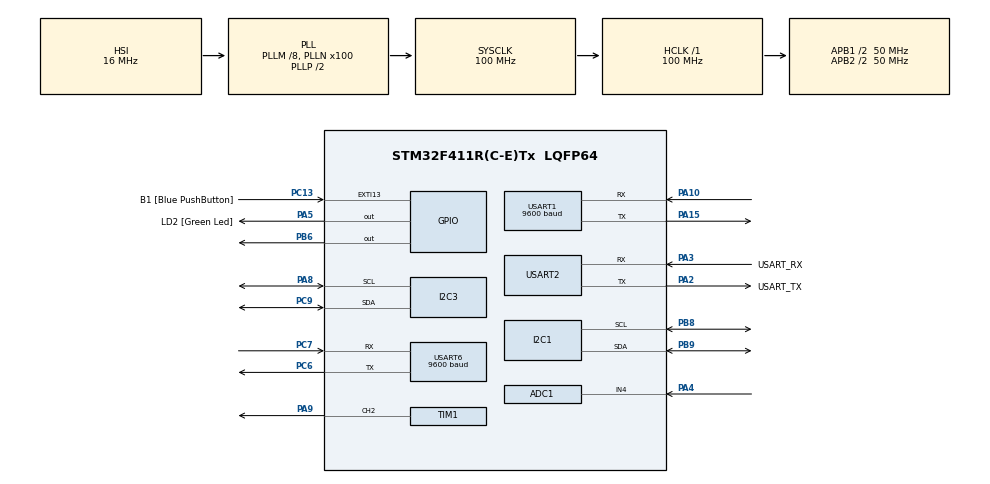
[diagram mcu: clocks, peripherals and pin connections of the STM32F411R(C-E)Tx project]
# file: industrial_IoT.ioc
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ADC1.Channel-1\#ChannelRegularConversion=ADC_CHANNEL_4
ADC1.NbrOfConversionFlag=1
ADC1.Rank-1\#ChannelRegularConversion=1
ADC1.SamplingTime-1\#ChannelRegularConversion=ADC_SAMPLETIME_3CYCLES
ADC1.master=1
FREERTOS.Mutexes01=CCSMutex01,Dynamic,NULL,Available;SHTMutex02,Dynamic,NULL,Available
FREERTOS.Queues01=uartQueue01,16,uint16_t,0,Dynamic,NULL,NULL
FREERTOS.Tasks01=I2CTask,24,128,i2cTask,Default,NULL,Dynamic,NULL,NULL;ADCTask,24,128,adcTask,Default,NULL,Dynamic,NULL,NULL;printTask,24,128,UsartTask,Default,NULL,Dynamic,NULL,NULL;BluetoothTask,40,128,BTTask,Default,NULL,Dynamic,NULL,NULL
Mcu.Family=STM32F4
Mcu.Name=STM32F411R(C-E)Tx
Mcu.Package=LQFP64
NVIC.ADC_IRQn=true\:5\:0\:false\:false\:true\:true\:true\:true\:true
NVIC.PriorityGroup=NVIC_PRIORITYGROUP_4
PA10.Mode=Asynchronous
PA10.Signal=USART1_RX
PA13.GPIO_Label=TMS
PA13.Mode=Serial_Wire
PA13.Signal=SYS_JTMS-SWDIO
PA14.GPIO_Label=TCK
PA14.Mode=Serial_Wire
PA14.Signal=SYS_JTCK-SWCLK
PA15.Mode=Asynchronous
PA15.Signal=USART1_TX
PA2.GPIO_Label=USART_TX
PA2.Mode=Asynchronous
PA2.Signal=USART2_TX
PA3.GPIO_Label=USART_RX
PA3.Mode=Asynchronous
PA3.Signal=USART2_RX
PA4.Signal=ADCx_IN4
PA5.GPIO_Label=LD2 [Green Led]
PA5.Signal=GPIO_Output
PA8.Mode=I2C
PA8.Signal=I2C3_SCL
PA9.Signal=S_TIM1_CH2
PB3.GPIO_Label=SWO
PB3.Signal=SYS_JTDO-SWO
PB6.Signal=GPIO_Output
PB8.Mode=I2C
PB8.Signal=I2C1_SCL
PB9.Mode=I2C
PB9.Signal=I2C1_SDA
PC13-ANTI_TAMP.GPIO_Label=B1 [Blue PushButton]
PC13-ANTI_TAMP.GPIO_ModeDefaultEXTI=GPIO_MODE_IT_FALLING
PC13-ANTI_TAMP.Signal=GPXTI13
PC14-OSC32_IN.Mode=LSE-External-Oscillator
PC14-OSC32_IN.Signal=RCC_OSC32_IN
PC15-OSC32_OUT.Mode=LSE-External-Oscillator
PC15-OSC32_OUT.Signal=RCC_OSC32_OUT
PC6.Mode=Asynchronous
PC6.Signal=USART6_TX
PC7.Mode=Asynchronous
PC7.Signal=USART6_RX
PC9.Mode=I2C
PC9.Signal=I2C3_SDA
PH0\ -\ OSC_IN.Mode=HSE-External-Clock-Source
PH0\ -\ OSC_IN.Signal=RCC_OSC_IN
PH1\ -\ OSC_OUT.Mode=HSE-External-Clock-Source
PH1\ -\ OSC_OUT.Signal=RCC_OSC_OUT
ProjectManager.HeapSize=0x200
ProjectManager.StackSize=0x400
ProjectManager.TargetToolchain=STM32CubeIDE
RCC.48MHZClocksFreq_Value=50000000
RCC.AHBFreq_Value=100000000
RCC.APB1CLKDivider=RCC_HCLK_DIV2
RCC.APB1Freq_Value=50000000
RCC.APB1TimFreq_Value=100000000
RCC.APB2CLKDivider=RCC_HCLK_DIV2
RCC.APB2Freq_Value=50000000
RCC.APB2TimFreq_Value=100000000
RCC.CortexFreq_Value=100000000
RCC.FLatency-AdvancedSettings=FLASH_LATENCY_3
RCC.HCLKFreq_Value=100000000
RCC.HSE_VALUE=8000000
RCC.HSI_VALUE=16000000
RCC.PLLM=8
RCC.PLLN=100
RCC.SYSCLKFreq_VALUE=100000000
RCC.SYSCLKSource=RCC_SYSCLKSOURCE_PLLCLK
RCC.VCOOutputFreq_Value=200000000
SH.ADCx_IN4.0=ADC1_IN4,IN4
SH.S_TIM1_CH2.0=TIM1_CH2,PWM Generation2 CH2
TIM1.Channel-PWM\ Generation2\ CH2=TIM_CHANNEL_2
TIM1.Period=65535-1
TIM1.Prescaler=100-1
USART1.BaudRate=9600
USART1.VirtualMode=VM_ASYNC
USART2.VirtualMode=VM_ASYNC
USART6.BaudRate=9600
USART6.VirtualMode=VM_ASYNC
VP_FREERTOS_VS_CMSIS_V2.Mode=CMSIS_V2
VP_TIM1_VS_ClockSourceINT.Mode=Internal
board=NUCLEO-F411RE

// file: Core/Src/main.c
/* USER CODE BEGIN Header */
/**
  ******************************************************************************
  * @file           : main.c
  * @brief          : Main program body
  ******************************************************************************
  * @attention
  *
  * Copyright (c) 2025 STMicroelectronics.
  * All rights reserved.
  *
  * This software is licensed under terms that can be found in the LICENSE file
  * in the root directory of this software component.
  * If no LICENSE file comes with this software, it is provided AS-IS.
  *
  ******************************************************************************
  */
/* USER CODE END Header */
#include "main.h"
#include "cmsis_os.h"

#include "stdio.h"
#include "string.h"

/* USER CODE BEGIN PD */
#define CCS_ADDR 0x5A << 1
#define STATUS 0x00
#define READ_DATA 0x02
#define MEAS_MODE 0x01
#define APP_START 0xF4

#define SHT_ADDR 0x44 << 1
#define MSB 0x24
#define LSB 0x00
/* USER CODE END PD */

/* USER CODE BEGIN PM */
typedef struct{
	uint16_t TVOC;
	uint16_t eCO2;

	uint8_t tvoc_data[8];
}CCS_value;

typedef struct{
	uint16_t rtemp;
	uint16_t rhumi;

	float temp;
	float humi;

	uint8_t SHT_data[6];
}SHT_value;

CCS_value CCS;

SHT_value SHT;

uint16_t dust;

char buf[500];
/* USER CODE END PM */

ADC_HandleTypeDef hadc1;

I2C_HandleTypeDef hi2c1;
I2C_HandleTypeDef hi2c3;

TIM_HandleTypeDef htim1;

UART_HandleTypeDef huart1;
UART_HandleTypeDef huart2;
UART_HandleTypeDef huart6;

/* Definitions for I2CTask */
osThreadId_t I2CTaskHandle;
const osThreadAttr_t I2CTask_attributes = {
  .name = "I2CTask",
  .stack_size = 128 * 4,
  .priority = (osPriority_t) osPriorityNormal,
};
/* Definitions for ADCTask */
osThreadId_t ADCTaskHandle;
const osThreadAttr_t ADCTask_attributes = {
  .name = "ADCTask",
  .stack_size = 128 * 4,
  .priority = (osPriority_t) osPriorityNormal,
};
/* Definitions for printTask */
osThreadId_t printTaskHandle;
const osThreadAttr_t printTask_attributes = {
  .name = "printTask",
  .stack_size = 128 * 4,
  .priority = (osPriority_t) osPriorityNormal,
};
/* Definitions for BluetoothTask */
osThreadId_t BluetoothTaskHandle;
const osThreadAttr_t BluetoothTask_attributes = {
  .name = "BluetoothTask",
  .stack_size = 128 * 4,
  .priority = (osPriority_t) osPriorityHigh,
};
/* Definitions for uartQueue01 */
osMessageQueueId_t uartQueue01Handle;
const osMessageQueueAttr_t uartQueue01_attributes = {
  .name = "uartQueue01"
};
/* Definitions for CCSMutex01 */
osMutexId_t CCSMutex01Handle;
const osMutexAttr_t CCSMutex01_attributes = {
  .name = "CCSMutex01"
};
/* Definitions for SHTMutex02 */
osMutexId_t SHTMutex02Handle;
const osMutexAttr_t SHTMutex02_attributes = {
  .name = "SHTMutex02"
};

void SystemClock_Config(void);
static void MX_GPIO_Init(void);
static void MX_USART2_UART_Init(void);
static void MX_ADC1_Init(void);
static void MX_I2C1_Init(void);
static void MX_I2C3_Init(void);
static void MX_TIM1_Init(void);
static void MX_USART6_UART_Init(void);
static void MX_USART1_UART_Init(void);
void i2cTask(void *argument);
void adcTask(void *argument);
void UsartTask(void *argument);
void BTTask(void *argument);

/* USER CODE BEGIN 0 */
void delay_us(uint16_t us){
	htim1.Instance-> CNT = 0;
	while(htim1.Instance->CNT < us){}
}

void CCS_Init(){
	uint8_t drive = 0x10;

	HAL_I2C_Mem_Write(&hi2c1,CCS_ADDR,APP_START,1,NULL,0,100);
    osDelay(100);
	HAL_I2C_Mem_Write(&hi2c1,CCS_ADDR,MEAS_MODE,1,&drive,1,100);

}

void CCS_Read(CCS_value *C){
	  if (osMutexAcquire(CCSMutex01Handle, osWaitForever) == osOK) {
	uint8_t status;

	HAL_I2C_Mem_Read(&hi2c1,CCS_ADDR,STATUS,1,&status,1,100);
    if((HAL_I2C_Mem_Read(&hi2c1,CCS_ADDR,STATUS,1,&status,1,100)) != HAL_OK){
    	Error_Handler();
    }
	if(status & 0x08){
		HAL_I2C_Mem_Read(&hi2c1,CCS_ADDR,READ_DATA,1,C->tvoc_data,8,100);
		  C->eCO2 = ((uint16_t)C->tvoc_data[0] << 8) | C->tvoc_data[1];
	      C->TVOC = ((uint16_t)C->tvoc_data[2] << 8) | C->tvoc_data[3];
	      sprintf(buf, "%d ppm, %d ppb\r\n", C->eCO2, C->TVOC);
	      osMessageQueuePut(uartQueue01Handle, buf, 0, 0);
	}
	osMutexRelease(CCSMutex01Handle);
}
}

void SHT_Read(SHT_value *S){
	 if (osMutexAcquire(SHTMutex02Handle, osWaitForever) == osOK) {
	uint16_t cmd[2] = {MSB,LSB};
	HAL_I2C_Master_Transmit(&hi2c3,SHT_ADDR,cmd,2,100);
   osDelay(15);
    HAL_I2C_Master_Receive(&hi2c3,SHT_ADDR,S->SHT_data,6,100);

    if((HAL_I2C_Master_Transmit(&hi2c3,SHT_ADDR,cmd,2,100)) != HAL_OK){
    	Error_Handler();
    }

	  S->rtemp = (uint16_t)(S->SHT_data[0]<<8) | S->SHT_data[1];
	  S->rhumi = (uint16_t)(S->SHT_data[3]<<8) | S->SHT_data[4];

	  S->temp = -45 + 175 * ((float)S->rtemp / 65535.0);
	  S->humi = 100 * ((float)S->rhumi / 65535.0);
	      sprintf(buf, "%.2f C, %.2f %%\r\n", S->temp, S->humi);
	 osMessageQueuePut(uartQueue01Handle, buf, 0, 0);
    osMutexRelease(SHTMutex02Handle);
	 }
}

void DUST_Read(){
	 GPIOB->ODR &= ~(0x0040);
     delay_us(280);
     ADC1->CR1 = 0x00000020;
	 ADC1->CR2 = 0x40000001;
     delay_us(40);
	 GPIOB->ODR |= 0x0040;
	 delay_us(9680);
	 sprintf(buf,"%d\r\n",dust);
     osMessageQueuePut(uartQueue01Handle, buf, 0, 0);

}

/* USER CODE END 0 */

int main(void)
{

  /* MCU Configuration--------------------------------------------------------*/

  /* Reset of all peripherals, Initializes the Flash interface and the Systick. */
  HAL_Init();

  /* Configure the system clock */
  SystemClock_Config();

  /* Initialize all configured peripherals */
  MX_GPIO_Init();
  MX_USART2_UART_Init();
  MX_ADC1_Init();
  MX_I2C1_Init();
  MX_I2C3_Init();
  MX_TIM1_Init();
  MX_USART6_UART_Init();
  MX_USART1_UART_Init();
  /* USER CODE BEGIN 2 */
  TIM1->CR1 = 0x0001;
  /* USER CODE END 2 */

  /* Init scheduler */
  osKernelInitialize();
  /* Create the mutex(es) */
  /* creation of CCSMutex01 */
  CCSMutex01Handle = osMutexNew(&CCSMutex01_attributes);

  /* creation of SHTMutex02 */
  SHTMutex02Handle = osMutexNew(&SHTMutex02_attributes);

  /* Create the queue(s) */
  /* creation of uartQueue01 */
  uartQueue01Handle = osMessageQueueNew (16, sizeof(buf), &uartQueue01_attributes);

  /* Create the thread(s) */
  /* creation of I2CTask */
  I2CTaskHandle = osThreadNew(i2cTask, NULL, &I2CTask_attributes);

  /* creation of ADCTask */
  ADCTaskHandle = osThreadNew(adcTask, NULL, &ADCTask_attributes);

  /* creation of printTask */
  printTaskHandle = osThreadNew(UsartTask, NULL, &printTask_attributes);

  /* creation of BluetoothTask */
  BluetoothTaskHandle = osThreadNew(BTTask, NULL, &BluetoothTask_attributes);

  /* Start scheduler */
  osKernelStart();

  /* We should never get here as control is now taken by the scheduler */

  /* Infinite loop */
  while (1)
  {

  }
}

void SystemClock_Config(void)
{
  RCC_OscInitTypeDef RCC_OscInitStruct = {0};
  RCC_ClkInitTypeDef RCC_ClkInitStruct = {0};

  /** Configure the main internal regulator output voltage
  */
  __HAL_RCC_PWR_CLK_ENABLE();
  __HAL_PWR_VOLTAGESCALING_CONFIG(PWR_REGULATOR_VOLTAGE_SCALE1);

  /** Initializes the RCC Oscillators according to the specified parameters
  * in the RCC_OscInitTypeDef structure.
  */
  RCC_OscInitStruct.OscillatorType = RCC_OSCILLATORTYPE_HSI;
  RCC_OscInitStruct.HSIState = RCC_HSI_ON;
  RCC_OscInitStruct.HSICalibrationValue = RCC_HSICALIBRATION_DEFAULT;
  RCC_OscInitStruct.PLL.PLLState = RCC_PLL_ON;
  RCC_OscInitStruct.PLL.PLLSource = RCC_PLLSOURCE_HSI;
  RCC_OscInitStruct.PLL.PLLM = 8;
  RCC_OscInitStruct.PLL.PLLN = 100;
  RCC_OscInitStruct.PLL.PLLP = RCC_PLLP_DIV2;
  RCC_OscInitStruct.PLL.PLLQ = 4;
  if (HAL_RCC_OscConfig(&RCC_OscInitStruct) != HAL_OK)
  {
    Error_Handler();
  }

  /** Initializes the CPU, AHB and APB buses clocks
  */
  RCC_ClkInitStruct.ClockType = RCC_CLOCKTYPE_HCLK|RCC_CLOCKTYPE_SYSCLK
                              |RCC_CLOCKTYPE_PCLK1|RCC_CLOCKTYPE_PCLK2;
  RCC_ClkInitStruct.SYSCLKSource = RCC_SYSCLKSOURCE_PLLCLK;
  RCC_ClkInitStruct.AHBCLKDivider = RCC_SYSCLK_DIV1;
  RCC_ClkInitStruct.APB1CLKDivider = RCC_HCLK_DIV2;
  RCC_ClkInitStruct.APB2CLKDivider = RCC_HCLK_DIV2;

  if (HAL_RCC_ClockConfig(&RCC_ClkInitStruct, FLASH_LATENCY_3) != HAL_OK)
  {
    Error_Handler();
  }
}

static void MX_ADC1_Init(void)
{

  ADC_ChannelConfTypeDef sConfig = {0};

  /** Configure the global features of the ADC (Clock, Resolution, Data Alignment and number of conversion)
  */
  hadc1.Instance = ADC1;
  hadc1.Init.ClockPrescaler = ADC_CLOCK_SYNC_PCLK_DIV2;
  hadc1.Init.Resolution = ADC_RESOLUTION_12B;
  hadc1.Init.ScanConvMode = DISABLE;
  hadc1.Init.ContinuousConvMode = DISABLE;
  hadc1.Init.DiscontinuousConvMode = DISABLE;
  hadc1.Init.ExternalTrigConvEdge = ADC_EXTERNALTRIGCONVEDGE_NONE;
  hadc1.Init.ExternalTrigConv = ADC_SOFTWARE_START;
  hadc1.Init.DataAlign = ADC_DATAALIGN_RIGHT;
  hadc1.Init.NbrOfConversion = 1;
  hadc1.Init.DMAContinuousRequests = DISABLE;
  hadc1.Init.EOCSelection = ADC_EOC_SINGLE_CONV;
  if (HAL_ADC_Init(&hadc1) != HAL_OK)
  {
    Error_Handler();
  }

  /** Configure for the selected ADC regular channel its corresponding rank in the sequencer and its sample time.
  */
  sConfig.Channel = ADC_CHANNEL_4;
  sConfig.Rank = 1;
  sConfig.SamplingTime = ADC_SAMPLETIME_3CYCLES;
  if (HAL_ADC_ConfigChannel(&hadc1, &sConfig) != HAL_OK)
  {
    Error_Handler();
  }
  /* USER CODE BEGIN ADC1_Init 2 */
  HAL_NVIC_SetPriority(ADC_IRQn, 0, 0);
    HAL_NVIC_EnableIRQ(ADC_IRQn);
  /* USER CODE END ADC1_Init 2 */

}

static void MX_I2C1_Init(void)
{

  hi2c1.Instance = I2C1;
  hi2c1.Init.ClockSpeed = 100000;
  hi2c1.Init.DutyCycle = I2C_DUTYCYCLE_2;
  hi2c1.Init.OwnAddress1 = 0;
  hi2c1.Init.AddressingMode = I2C_ADDRESSINGMODE_7BIT;
  hi2c1.Init.DualAddressMode = I2C_DUALADDRESS_DISABLE;
  hi2c1.Init.OwnAddress2 = 0;
  hi2c1.Init.GeneralCallMode = I2C_GENERALCALL_DISABLE;
  hi2c1.Init.NoStretchMode = I2C_NOSTRETCH_DISABLE;
  if (HAL_I2C_Init(&hi2c1) != HAL_OK)
  {
    Error_Handler();
  }

}

static void MX_I2C3_Init(void)
{

  hi2c3.Instance = I2C3;
  hi2c3.Init.ClockSpeed = 100000;
  hi2c3.Init.DutyCycle = I2C_DUTYCYCLE_2;
  hi2c3.Init.OwnAddress1 = 0;
  hi2c3.Init.AddressingMode = I2C_ADDRESSINGMODE_7BIT;
  hi2c3.Init.DualAddressMode = I2C_DUALADDRESS_DISABLE;
  hi2c3.Init.OwnAddress2 = 0;
  hi2c3.Init.GeneralCallMode = I2C_GENERALCALL_DISABLE;
  hi2c3.Init.NoStretchMode = I2C_NOSTRETCH_DISABLE;
  if (HAL_I2C_Init(&hi2c3) != HAL_OK)
  {
    Error_Handler();
  }

}

static void MX_TIM1_Init(void)
{

  TIM_ClockConfigTypeDef sClockSourceConfig = {0};
  TIM_MasterConfigTypeDef sMasterConfig = {0};
  TIM_OC_InitTypeDef sConfigOC = {0};
  TIM_BreakDeadTimeConfigTypeDef sBreakDeadTimeConfig = {0};

  htim1.Instance = TIM1;
  htim1.Init.Prescaler = 100-1;
  htim1.Init.CounterMode = TIM_COUNTERMODE_UP;
  htim1.Init.Period = 65535-1;
  htim1.Init.ClockDivision = TIM_CLOCKDIVISION_DIV1;
  htim1.Init.RepetitionCounter = 0;
  htim1.Init.AutoReloadPreload = TIM_AUTORELOAD_PRELOAD_DISABLE;
  if (HAL_TIM_Base_Init(&htim1) != HAL_OK)
  {
    Error_Handler();
  }
  sClockSourceConfig.ClockSource = TIM_CLOCKSOURCE_INTERNAL;
  if (HAL_TIM_ConfigClockSource(&htim1, &sClockSourceConfig) != HAL_OK)
  {
    Error_Handler();
  }
  if (HAL_TIM_PWM_Init(&htim1) != HAL_OK)
  {
    Error_Handler();
  }
  sMasterConfig.MasterOutputTrigger = TIM_TRGO_RESET;
  sMasterConfig.MasterSlaveMode = TIM_MASTERSLAVEMODE_DISABLE;
  if (HAL_TIMEx_MasterConfigSynchronization(&htim1, &sMasterConfig) != HAL_OK)
  {
    Error_Handler();
  }
  sConfigOC.OCMode = TIM_OCMODE_PWM1;
  sConfigOC.Pulse = 0;
  sConfigOC.OCPolarity = TIM_OCPOLARITY_HIGH;
  sConfigOC.OCNPolarity = TIM_OCNPOLARITY_HIGH;
  sConfigOC.OCFastMode = TIM_OCFAST_DISABLE;
  sConfigOC.OCIdleState = TIM_OCIDLESTATE_RESET;
  sConfigOC.OCNIdleState = TIM_OCNIDLESTATE_RESET;
  if (HAL_TIM_PWM_ConfigChannel(&htim1, &sConfigOC, TIM_CHANNEL_2) != HAL_OK)
  {
    Error_Handler();
  }
  sBreakDeadTimeConfig.OffStateRunMode = TIM_OSSR_DISABLE;
  sBreakDeadTimeConfig.OffStateIDLEMode = TIM_OSSI_DISABLE;
  sBreakDeadTimeConfig.LockLevel = TIM_LOCKLEVEL_OFF;
  sBreakDeadTimeConfig.DeadTime = 0;
  sBreakDeadTimeConfig.BreakState = TIM_BREAK_DISABLE;
  sBreakDeadTimeConfig.BreakPolarity = TIM_BREAKPOLARITY_HIGH;
  sBreakDeadTimeConfig.AutomaticOutput = TIM_AUTOMATICOUTPUT_DISABLE;
  if (HAL_TIMEx_ConfigBreakDeadTime(&htim1, &sBreakDeadTimeConfig) != HAL_OK)
  {
    Error_Handler();
  }
  HAL_TIM_MspPostInit(&htim1);

}

static void MX_USART1_UART_Init(void)
{

  huart1.Instance = USART1;
  huart1.Init.BaudRate = 9600;
  huart1.Init.WordLength = UART_WORDLENGTH_8B;
  huart1.Init.StopBits = UART_STOPBITS_1;
  huart1.Init.Parity = UART_PARITY_NONE;
  huart1.Init.Mode = UART_MODE_TX_RX;
  huart1.Init.HwFlowCtl = UART_HWCONTROL_NONE;
  huart1.Init.OverSampling = UART_OVERSAMPLING_16;
  if (HAL_UART_Init(&huart1) != HAL_OK)
  {
    Error_Handler();
  }

}

static void MX_USART2_UART_Init(void)
{

  huart2.Instance = USART2;
  huart2.Init.BaudRate = 115200;
  huart2.Init.WordLength = UART_WORDLENGTH_8B;
  huart2.Init.StopBits = UART_STOPBITS_1;
  huart2.Init.Parity = UART_PARITY_NONE;
  huart2.Init.Mode = UART_MODE_TX_RX;
  huart2.Init.HwFlowCtl = UART_HWCONTROL_NONE;
  huart2.Init.OverSampling = UART_OVERSAMPLING_16;
  if (HAL_UART_Init(&huart2) != HAL_OK)
  {
    Error_Handler();
  }

}

static void MX_USART6_UART_Init(void)
{

  huart6.Instance = USART6;
  huart6.Init.BaudRate = 9600;
  huart6.Init.WordLength = UART_WORDLENGTH_8B;
  huart6.Init.StopBits = UART_STOPBITS_1;
  huart6.Init.Parity = UART_PARITY_NONE;
  huart6.Init.Mode = UART_MODE_TX_RX;
  huart6.Init.HwFlowCtl = UART_HWCONTROL_NONE;
  huart6.Init.OverSampling = UART_OVERSAMPLING_16;
  if (HAL_UART_Init(&huart6) != HAL_OK)
  {
    Error_Handler();
  }

}

static void MX_GPIO_Init(void)
{
  GPIO_InitTypeDef GPIO_InitStruct = {0};

  /* GPIO Ports Clock Enable */
  __HAL_RCC_GPIOC_CLK_ENABLE();
  __HAL_RCC_GPIOH_CLK_ENABLE();
  __HAL_RCC_GPIOA_CLK_ENABLE();
  __HAL_RCC_GPIOB_CLK_ENABLE();

  /*Configure GPIO pin Output Level */
  HAL_GPIO_WritePin(LD2_GPIO_Port, LD2_Pin, GPIO_PIN_RESET);

  /*Configure GPIO pin Output Level */
  HAL_GPIO_WritePin(GPIOB, GPIO_PIN_6, GPIO_PIN_RESET);

  /*Configure GPIO pin : B1_Pin */
  GPIO_InitStruct.Pin = B1_Pin;
  GPIO_InitStruct.Mode = GPIO_MODE_IT_FALLING;
  GPIO_InitStruct.Pull = GPIO_NOPULL;
  HAL_GPIO_Init(B1_GPIO_Port, &GPIO_InitStruct);

  /*Configure GPIO pin : LD2_Pin */
  GPIO_InitStruct.Pin = LD2_Pin;
  GPIO_InitStruct.Mode = GPIO_MODE_OUTPUT_PP;
  GPIO_InitStruct.Pull = GPIO_NOPULL;
  GPIO_InitStruct.Speed = GPIO_SPEED_FREQ_LOW;
  HAL_GPIO_Init(LD2_GPIO_Port, &GPIO_InitStruct);

  /*Configure GPIO pin : PB6 */
  GPIO_InitStruct.Pin = GPIO_PIN_6;
  GPIO_InitStruct.Mode = GPIO_MODE_OUTPUT_PP;
  GPIO_InitStruct.Pull = GPIO_NOPULL;
  GPIO_InitStruct.Speed = GPIO_SPEED_FREQ_LOW;
  HAL_GPIO_Init(GPIOB, &GPIO_InitStruct);

}

void i2cTask(void *argument)
{
  /* USER CODE BEGIN 5 */
	 CCS_Init();
  /* Infinite loop */
  for(;;)
  {
	  CCS_Read(&CCS);
	  SHT_Read(&SHT);
	  osDelay(1000);
  }
  /* USER CODE END 5 */
}

void adcTask(void *argument)
{
  /* USER CODE BEGIN adcTask */
  /* Infinite loop */
  for(;;)
  {
	  DUST_Read();
	  osDelay(1000);
  }
  /* USER CODE END adcTask */
}

void UsartTask(void *argument)
{
  /* USER CODE BEGIN UsartTask */
  /* Infinite loop */
  for(;;)
  {
	  if (osMessageQueueGet(uartQueue01Handle, buf, NULL, osWaitForever) == osOK) {
	  	             HAL_UART_Transmit(&huart1,(uint8_t*)buf, strlen(buf),0xFFFF);
	  	         }
  }
  /* USER CODE END UsartTask */
}

void BTTask(void *argument)
{
  /* USER CODE BEGIN BTTask */
	char BTbuf[50];
  /* Infinite loop */
  for(;;)
  {
	  if(SHT.temp > 30.0 && CCS.TVOC > 600 && dust > 2000){
			  strcpy(BTbuf,"Warning\r\n");
			  HAL_UART_Transmit(&huart6,(uint8_t*)BTbuf,strlen(BTbuf),0xFFFF);
		  }
	  else{
		  strcpy(BTbuf,"default\r\n");
		 HAL_UART_Transmit(&huart6,(uint8_t*)BTbuf,strlen(BTbuf),0xFFFF);
	  }
	  osDelay(1000);
  }
  /* USER CODE END BTTask */
}

void Error_Handler(void)
{
  /* USER CODE BEGIN Error_Handler_Debug */
  /* User can add his own implementation to report the HAL error return state */
  while (1)
  {
	  strcpy(buf,"i2cstatuserror\r\n");
	  HAL_UART_Transmit(&huart1,(uint8_t*)buf,strlen(buf),0xFFFF);
	  HAL_Delay(1000);
  }
  /* USER CODE END Error_Handler_Debug */
}
